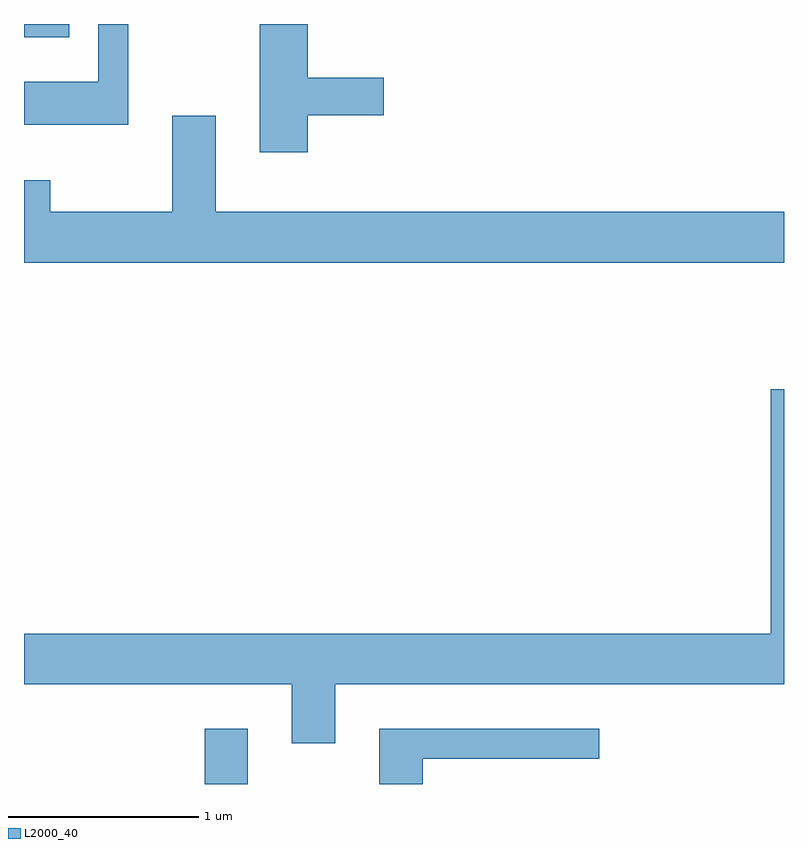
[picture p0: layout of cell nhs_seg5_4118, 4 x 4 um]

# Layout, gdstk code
import gdstk
lib = gdstk.Library(unit=1e-6, precision=1e-09)
def R(c, l, rs):  # rectangles x0, y0, x1, y1
    for r in rs: c.add(gdstk.rectangle(r[:2], r[2:], *l))
def P(c, l, *ps):  # polygons
    for p in ps: c.add(gdstk.Polygon(p, *l))
L2000_40 = (2000, 40)

nhs_seg5_4118 = lib.new_cell('nhs_seg5_4118')
R(nhs_seg5_4118, L2000_40, [(308.561,1434.072,308.789,1434.364), (307.611,1438.001,307.849,1438.072)])
P(nhs_seg5_4118, L2000_40, [(309.104,1437.591),(309.504,1437.591),(309.504,1437.789),(309.104,1437.789),(309.104,1438.072),(308.851,1438.072),(308.851,1437.396),(309.104,1437.396)],
  [(308.159,1438.072),(308.001,1438.072),(308.001,1437.769),(307.611,1437.769),(307.611,1437.541),(308.159,1437.541)],
  [(311.611,1437.084),(308.619,1437.084),(308.619,1437.589),(308.391,1437.589),(308.391,1437.084),(307.749,1437.084),(307.749,1437.249),(307.611,1437.249),(307.611,1436.816),(311.611,1436.816)],
  [(309.249,1434.596),(311.611,1434.596),(311.611,1436.149),(311.541,1436.149),(311.541,1434.864),(307.611,1434.864),(307.611,1434.596),(309.021,1434.596),(309.021,1434.286),(309.249,1434.286)],
  [(309.709,1434.206),(310.638,1434.206),(310.638,1434.364),(309.481,1434.364),(309.481,1434.072),(309.709,1434.072)])

lib.write_gds('nhs_seg5_4118.gds')
